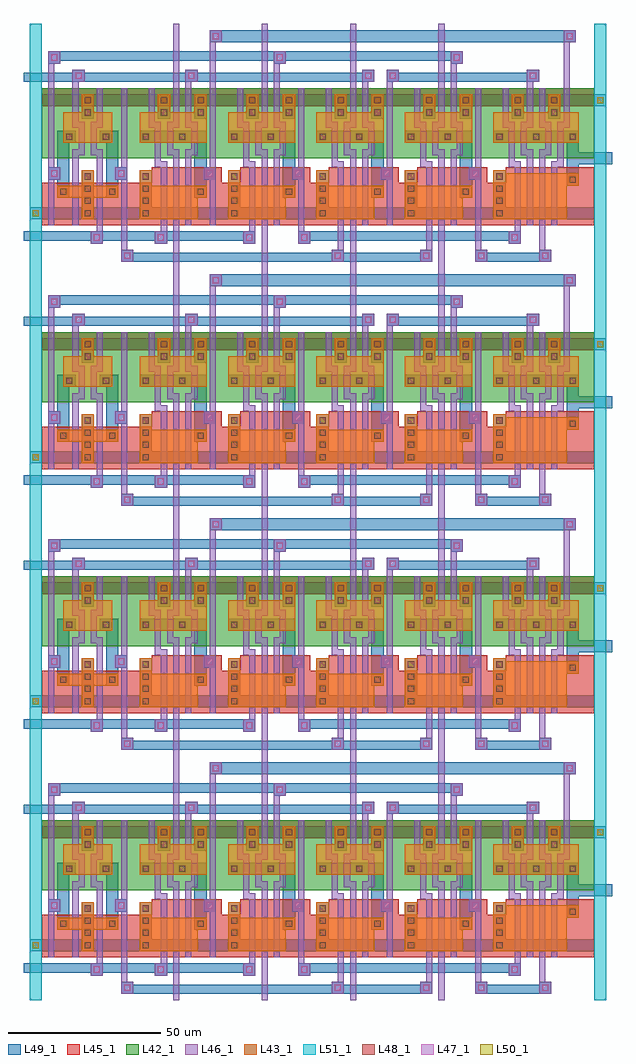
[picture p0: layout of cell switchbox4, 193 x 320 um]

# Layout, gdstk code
import gdstk
lib = gdstk.Library(unit=1e-6, precision=1e-09)
def R(c, l, rs):  # rectangles x0, y0, x1, y1
    for r in rs: c.add(gdstk.rectangle(r[:2], r[2:], *l))
def A(c, l, x, y, w, h, nx, ny, dx, dy):  # array of equal rectangles
    R(c, l, [(x+i*dx, y+j*dy, x+i*dx+w, y+j*dy+h) for i in range(nx) for j in range(ny)])
L42_1 = (42, 1)
L43_1 = (43, 1)
L45_1 = (45, 1)
L46_1 = (46, 1)
L47_1 = (47, 1)
L48_1 = (48, 1)
L49_1 = (49, 1)
L50_1 = (50, 1)
L51_1 = (51, 1)

nan4rout = lib.new_cell('nan4rout')
R(nan4rout, L42_1, [(0,22,38,45)])
R(nan4rout, L43_1, [(5,2,29,13), (5,13,33,17), (5,17,9,18), (5,27,33,37), (11,37,15,43), (23,37,27,43)])
R(nan4rout, L45_1, [(0,0,38,14), (9,14,38,19), (0,39,38,45)])
A(nan4rout, L46_1, 8, 32, 4, 2, 4, 1, 6, 0)
R(nan4rout, L46_1, [(12,0,14,2), (12,0,14,2), (12,0,14,2), (12,0,14,2), (12,0,14,19), (16,0,18,2), (16,0,18,2), (16,0,18,2), (16,0,18,2), (16,0,18,23), (20,0,22,2), (20,0,22,2), (20,0,22,2), (20,0,22,2), (20,0,22,23), (24,0,26,2), (24,0,26,2), (24,0,26,2), (24,0,26,2), (24,0,26,19), (10,19,14,21), (24,19,28,21), (10,21,12,22), (26,21,28,32), (10,22,12,23), (10,23,12,32), (14,23,18,25), (20,23,24,25), (14,25,16,32), (22,25,24,32), (8,34,10,45), (16,34,18,35), (20,34,22,45), (28,34,30,45), (16,35,18,45), (8,43,10,45), (8,43,10,45), (8,43,10,45), (8,43,10,45), (16,43,18,45), (16,43,18,45), (16,43,18,45), (16,43,18,45), (20,43,22,45), (20,43,22,45), (20,43,22,45), (20,43,22,45), (28,43,30,45), (28,43,30,45), (28,43,30,45), (28,43,30,45)])
A(nan4rout, L48_1, 6, 3, 2, 2, 1, 4, 0, 4)
A(nan4rout, L48_1, 6, 28, 2, 2, 3, 1, 12, 0)
R(nan4rout, L48_1, [(30,14,32,16), (12,36,14,38), (24,36,26,38), (12,40,14,42), (24,40,26,42)])
R(nan4rout, L49_1, [(0,2,3,6), (0,2,3,6), (0,2,3,6), (0,2,3,6), (0,2,38,6), (35,2,38,6), (35,2,38,6), (35,2,38,6), (35,2,38,6), (5,6,9,18), (29,13,33,20), (29,20,38,24), (35,20,38,24), (35,20,38,24), (35,20,38,24), (35,20,38,24), (29,24,33,27), (5,27,33,31), (11,35,15,39), (23,35,27,39), (0,39,3,43), (0,39,3,43), (0,39,3,43), (0,39,3,43), (0,39,38,43), (35,39,38,43), (35,39,38,43), (35,39,38,43), (35,39,38,43)])

nan3 = lib.new_cell('nan3')
R(nan3, L42_1, [(0,22,32,45)])
R(nan3, L43_1, [(5,2,24,9), (5,9,27,13), (5,13,9,18), (5,27,27,37), (11,37,15,43), (23,37,27,43)])
R(nan3, L45_1, [(0,0,32,14), (9,14,32,19), (0,39,32,45)])
A(nan3, L46_1, 8, 32, 4, 2, 3, 1, 6, 0)
R(nan3, L46_1, [(12,0,14,2), (12,0,14,2), (12,0,14,2), (12,0,14,2), (12,0,14,19), (16,0,18,2), (16,0,18,2), (16,0,18,2), (16,0,18,2), (16,0,18,23), (20,0,22,2), (20,0,22,2), (20,0,22,2), (20,0,22,2), (20,0,22,23), (28,0,30,2), (28,0,30,2), (28,0,30,2), (28,0,30,2), (28,0,30,15), (26,15,30,19), (10,19,14,21), (28,19,30,45), (10,21,12,22), (10,22,12,23), (10,23,12,32), (14,23,18,25), (20,23,24,25), (14,25,16,32), (22,25,24,32), (8,34,10,45), (16,34,18,35), (20,34,22,45), (16,35,18,45), (8,43,10,45), (8,43,10,45), (8,43,10,45), (8,43,10,45), (16,43,18,45), (16,43,18,45), (16,43,18,45), (16,43,18,45), (20,43,22,45), (20,43,22,45), (20,43,22,45), (20,43,22,45), (28,43,30,45), (28,43,30,45), (28,43,30,45), (28,43,30,45)])
R(nan3, L47_1, [(27,16,29,18)])
A(nan3, L48_1, 6, 3, 2, 2, 1, 4, 0, 4)
R(nan3, L48_1, [(24,10,26,12), (6,28,8,30), (18,28,20,30), (12,36,14,38), (24,36,26,38), (12,40,14,42), (24,40,26,42)])
R(nan3, L49_1, [(0,2,3,6), (0,2,3,6), (0,2,3,6), (0,2,3,6), (0,2,32,6), (29,2,32,6), (29,2,32,6), (29,2,32,6), (29,2,32,6), (5,6,9,18), (23,9,27,15), (23,15,30,19), (23,19,27,27), (5,27,27,31), (11,35,15,39), (23,35,27,39), (0,39,3,43), (0,39,3,43), (0,39,3,43), (0,39,3,43), (0,39,32,43), (29,39,32,43), (29,39,32,43), (29,39,32,43), (29,39,32,43)])

dubinv = lib.new_cell('dubinv')
R(dubinv, L42_1, [(0,22,30,45)])
R(dubinv, L43_1, [(13,2,17,9), (5,9,25,13), (13,13,17,18), (7,27,23,37), (13,37,17,43)])
R(dubinv, L45_1, [(0,0,30,14), (0,39,30,45)])
R(dubinv, L46_1, [(2,0,4,2), (2,0,4,2), (2,0,4,2), (2,0,4,2), (2,0,4,15), (10,0,12,2), (10,0,12,2), (10,0,12,2), (10,0,12,2), (10,0,12,23), (18,0,20,2), (18,0,20,2), (18,0,20,2), (18,0,20,2), (18,0,20,23), (26,0,28,2), (26,0,28,2), (26,0,28,2), (26,0,28,2), (26,0,28,15), (2,15,6,19), (24,15,28,19), (2,19,4,45), (26,19,28,45), (10,23,14,25), (16,23,20,25), (12,25,14,32), (16,25,18,32), (10,32,14,34), (16,32,20,34), (10,34,12,45), (18,34,20,45), (2,43,4,45), (2,43,4,45), (2,43,4,45), (2,43,4,45), (10,43,12,45), (10,43,12,45), (10,43,12,45), (10,43,12,45), (18,43,20,45), (18,43,20,45), (18,43,20,45), (18,43,20,45), (26,43,28,45), (26,43,28,45), (26,43,28,45), (26,43,28,45)])
R(dubinv, L47_1, [(3,16,5,18), (25,16,27,18)])
A(dubinv, L48_1, 14, 3, 2, 2, 1, 4, 0, 4)
R(dubinv, L48_1, [(6,10,8,12), (22,10,24,12), (8,28,10,30), (20,28,22,30), (14,36,16,38), (14,40,16,42)])
R(dubinv, L49_1, [(0,2,3,6), (0,2,3,6), (0,2,3,6), (0,2,3,6), (0,2,30,6), (27,2,30,6), (27,2,30,6), (27,2,30,6), (27,2,30,6), (13,6,17,18), (5,9,9,15), (21,9,25,15), (2,15,9,19), (21,15,28,19), (5,19,9,27), (21,19,25,27), (5,27,11,31), (19,27,25,31), (13,35,17,39), (0,39,3,43), (0,39,3,43), (0,39,3,43), (0,39,3,43), (0,39,30,43), (27,39,30,43), (27,39,30,43), (27,39,30,43), (27,39,30,43)])

dec1of4 = lib.new_cell('dec1of4')
A(dec1of4, L46_1, 43, -14, 2, 14, 4, 1, 29, 0)
A(dec1of4, L46_1, 43, 45, 2, 21, 4, 1, 29, 0)
R(dec1of4, L46_1, [(43,-14,45,-12), (43,-14,45,-12), (43,-14,45,-12), (43,-14,45,-12), (43,-14,45,-12), (72,-14,74,-12), (72,-14,74,-12), (72,-14,74,-12), (72,-14,74,-12), (72,-14,74,-12), (101,-14,103,-12), (101,-14,103,-12), (101,-14,103,-12), (101,-14,103,-12), (101,-14,103,-12), (130,-14,132,-12), (130,-14,132,-12), (130,-14,132,-12), (130,-14,132,-12), (130,-14,132,-12), (26,-12,30,-8), (95,-12,99,-8), (124,-12,128,-8), (142,-12,146,-8), (163,-12,167,-8), (26,-8,28,0), (97,-8,99,0), (126,-8,128,0), (142,-8,144,0), (163,-8,165,0), (16,-6,20,-2), (37,-6,41,-2), (66,-6,70,-2), (84,-6,88,-2), (153,-6,157,-2), (18,-2,20,0), (39,-2,41,0), (68,-2,70,0), (84,-2,86,0), (155,-2,157,0), (2,45,4,53), (10,45,12,47), (47,45,49,47), (55,45,57,60), (76,45,78,53), (105,45,107,47), (113,45,115,47), (134,45,136,53), (159,45,161,47), (171,45,173,60), (10,47,14,51), (47,47,51,51), (105,47,109,51), (113,47,117,51), (159,47,163,51), (2,53,6,57), (76,53,80,57), (134,53,138,57), (55,60,59,64), (171,60,175,64), (43,64,45,66), (43,64,45,66), (43,64,45,66), (43,64,45,66), (43,64,45,66), (72,64,74,66), (72,64,74,66), (72,64,74,66), (72,64,74,66), (72,64,74,66), (101,64,103,66), (101,64,103,66), (101,64,103,66), (101,64,103,66), (101,64,103,66), (130,64,132,66), (130,64,132,66), (130,64,132,66), (130,64,132,66), (130,64,132,66)])
R(dec1of4, L47_1, [(27,-11,29,-9), (96,-11,98,-9), (125,-11,127,-9), (143,-11,145,-9), (164,-11,166,-9), (17,-5,19,-3), (38,-5,40,-3), (67,-5,69,-3), (85,-5,87,-3), (154,-5,156,-3), (11,48,13,50), (48,48,50,50), (106,48,108,50), (114,48,116,50), (160,48,162,50), (3,54,5,56), (77,54,79,56), (135,54,137,56), (56,61,58,63), (172,61,174,63)])
R(dec1of4, L49_1, [(26,-12,128,-9), (142,-12,167,-9), (26,-9,30,-8), (95,-9,99,-8), (124,-9,128,-8), (142,-9,146,-8), (163,-9,167,-8), (16,-6,20,-5), (37,-6,41,-5), (66,-6,70,-5), (84,-6,88,-5), (153,-6,157,-5), (0,-5,3,-2), (0,-5,3,-2), (0,-5,3,-2), (0,-5,3,-2), (0,-5,70,-2), (84,-5,157,-2), (0,2,3,6), (0,2,3,6), (0,2,3,6), (0,2,3,6), (178,2,181,6), (178,2,181,6), (178,2,181,6), (178,2,181,6), (178,20,181,24), (178,20,181,24), (178,20,181,24), (178,20,181,24), (0,39,3,43), (0,39,3,43), (0,39,3,43), (0,39,3,43), (178,39,181,43), (178,39,181,43), (178,39,181,43), (178,39,181,43), (0,47,3,50), (0,47,3,50), (0,47,3,50), (0,47,3,50), (1,47,2,50), (3,47,109,50), (113,47,163,50), (10,50,14,51), (47,50,51,51), (105,50,109,51), (113,50,117,51), (159,50,163,51), (2,53,6,54), (76,53,80,54), (134,53,138,54), (2,54,138,57), (55,60,175,64)])
dec1of4.add(gdstk.Reference(nan4rout, (143,0)))
dec1of4.add(gdstk.Reference(nan3, (114,0)))
dec1of4.add(gdstk.Reference(nan3, (85,0)))
dec1of4.add(gdstk.Reference(nan3, (56,0)))
dec1of4.add(gdstk.Reference(nan3, (27,0)))
dec1of4.add(gdstk.Reference(dubinv, (0,0)))
dec1of4.add(gdstk.Label('test', (4,55), layer=49, texttype=9))

switchbox4 = lib.new_cell('switchbox4')
R(switchbox4, L46_1, [(49,0,51,2), (49,0,51,2), (49,0,51,2), (49,0,51,2), (78,0,80,2), (78,0,80,2), (78,0,80,2), (78,0,80,2), (107,0,109,2), (107,0,109,2), (107,0,109,2), (107,0,109,2), (136,0,138,2), (136,0,138,2), (136,0,138,2), (136,0,138,2), (49,318,51,320), (49,318,51,320), (49,318,51,320), (49,318,51,320), (78,318,80,320), (78,318,80,320), (78,318,80,320), (78,318,80,320), (107,318,109,320), (107,318,109,320), (107,318,109,320), (107,318,109,320), (136,318,138,320), (136,318,138,320), (136,318,138,320), (136,318,138,320)])
A(switchbox4, L49_1, 2, 16, 4, 4, 1, 4, 0, 80)
A(switchbox4, L49_1, 187, 53, 4, 4, 1, 4, 0, 80)
R(switchbox4, L49_1, [(0,9,3,12), (0,9,3,12), (0,9,3,12), (0,9,3,12), (0,9,2,12), (3,9,6,12), (187,34,193,38), (190,34,193,38), (190,34,193,38), (190,34,193,38), (190,34,193,38), (0,61,3,64), (0,61,3,64), (0,61,3,64), (0,61,3,64), (0,61,6,64), (0,89,3,92), (0,89,3,92), (0,89,3,92), (0,89,3,92), (0,89,6,92), (187,114,192,118), (190,114,193,118), (190,114,193,118), (190,114,193,118), (190,114,193,118), (0,141,3,144), (0,141,3,144), (0,141,3,144), (0,141,3,144), (0,141,6,144), (0,169,3,172), (0,169,3,172), (0,169,3,172), (0,169,3,172), (0,169,6,172), (187,194,193,198), (190,194,193,198), (190,194,193,198), (190,194,193,198), (190,194,193,198), (0,221,3,224), (0,221,3,224), (0,221,3,224), (0,221,3,224), (0,221,6,224), (0,249,3,252), (0,249,3,252), (0,249,3,252), (0,249,3,252), (0,249,6,252), (187,274,193,278), (190,274,193,278), (190,274,193,278), (190,274,193,278), (190,274,193,278), (0,301,3,304), (0,301,3,304), (0,301,3,304), (0,301,3,304), (0,301,6,304)])
A(switchbox4, L50_1, 3, 17, 2, 2, 1, 4, 0, 80)
A(switchbox4, L50_1, 188, 54, 2, 2, 1, 4, 0, 80)
R(switchbox4, L51_1, [(2,0,6,3), (2,0,6,3), (2,0,6,3), (2,0,6,320), (187,0,191,3), (187,0,191,3), (187,0,191,3), (187,0,191,320), (2,317,6,320), (2,317,6,320), (2,317,6,320), (187,317,191,320), (187,317,191,320), (187,317,191,320)])
switchbox4.add(gdstk.Reference(dec1of4, (6,14)))
switchbox4.add(gdstk.Reference(dec1of4, (6,94)))
switchbox4.add(gdstk.Reference(dec1of4, (6,174)))
switchbox4.add(gdstk.Reference(dec1of4, (6,254)))

lib.write_gds('switchbox4.gds')
